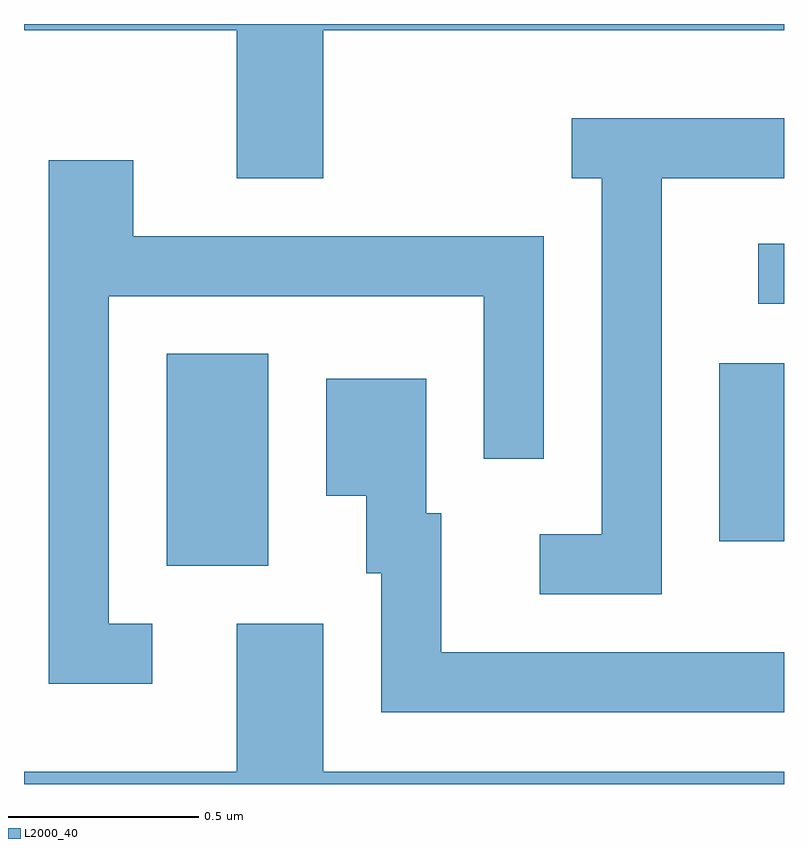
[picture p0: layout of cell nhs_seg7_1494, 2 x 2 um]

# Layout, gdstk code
import gdstk
lib = gdstk.Library(unit=1e-6, precision=1e-09)
def R(c, l, rs):  # rectangles x0, y0, x1, y1
    for r in rs: c.add(gdstk.rectangle(r[:2], r[2:], *l))
def P(c, l, *ps):  # polygons
    for p in ps: c.add(gdstk.Polygon(p, *l))
L2000_40 = (2000, 40)

nhs_seg7_1494 = lib.new_cell('nhs_seg7_1494')
R(nhs_seg7_1494, L2000_40, [(195.986,1792.826,196.254,1793.384), (197.441,1792.891,197.611,1793.359), (197.543,1793.516,197.611,1793.674)])
P(nhs_seg7_1494, L2000_40, [(196.399,1794.236),(197.611,1794.236),(197.611,1794.252),(195.611,1794.252),(195.611,1794.236),(196.171,1794.236),(196.171,1793.846),(196.399,1793.846)],
  [(197.289,1793.846),(197.611,1793.846),(197.611,1794.004),(197.053,1794.004),(197.053,1793.846),(197.131,1793.846),(197.131,1792.909),(196.968,1792.909),(196.968,1792.751),(197.289,1792.751)],
  [(195.948,1792.674),(195.834,1792.674),(195.834,1793.536),(196.821,1793.536),(196.821,1793.108),(196.979,1793.108),(196.979,1793.694),(195.899,1793.694),(195.899,1793.894),(195.676,1793.894),(195.676,1792.516),(195.948,1792.516)],
  [(197.611,1792.599),(196.709,1792.599),(196.709,1792.964),(196.669,1792.964),(196.669,1793.319),(196.406,1793.319),(196.406,1793.011),(196.511,1793.011),(196.511,1792.806),(196.551,1792.806),(196.551,1792.441),(197.611,1792.441)],
  [(197.611,1792.284),(196.399,1792.284),(196.399,1792.674),(196.171,1792.674),(196.171,1792.284),(195.611,1792.284),(195.611,1792.252),(197.611,1792.252)])

lib.write_gds('nhs_seg7_1494.gds')
